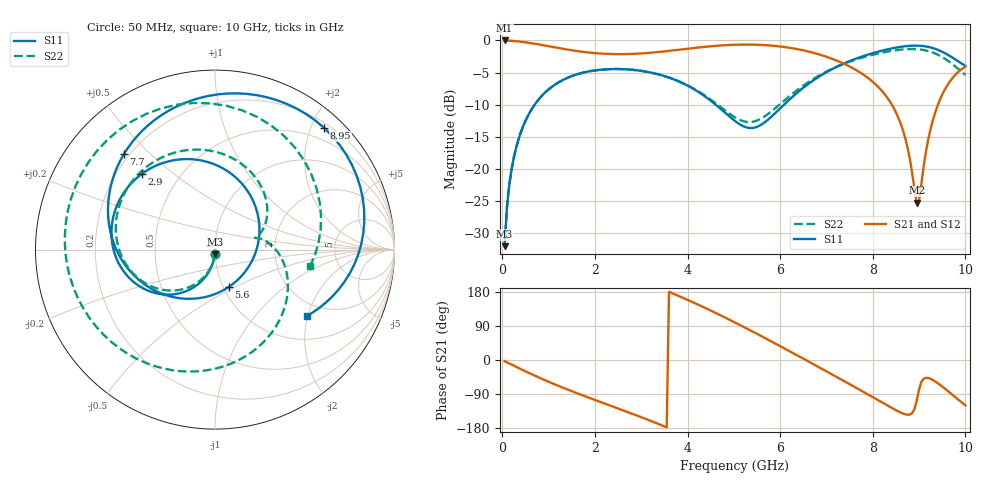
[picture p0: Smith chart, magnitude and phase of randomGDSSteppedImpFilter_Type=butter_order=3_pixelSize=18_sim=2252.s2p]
! freq	dB(S11)	phase(S11)	dB(S12)	phase(S12)
!  dB(S21)	phase(S21)	dB(S22)	phase(S22)
!S-par simulation data
#  GHz  S  DB  R 50
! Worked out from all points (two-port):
!   200 points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, 50 MHz to 10 GHz, reference 50 ohm
!   highest |S21| = -0.01 dB at 50 MHz (marker M1); lowest = -25.3 dB at 8.95 GHz (marker M2)
!   |S21| within 3 dB of the highest: start of sweep to 7.174 GHz
!   lowest |S11| = -32.0 dB at 50 MHz (marker M3), VSWR 1.05, Z = 49.8 - j2.49 ohm
!   |S11| at or under -10 dB: start of sweep to 699.7 MHz; 4.608 GHz to 6.083 GHz (1.475 GHz wide, 27.6 % of centre)
!   |S22| runs from -32.0 to -1.3 dB; largest |S21 - S12| = 0
!   S11 on the Smith chart (normalised r, x): 50 MHz: 1.00, -0.05; 2.9 GHz: 0.30, +0.39; 5.6 GHz: 1.06, -0.46; 7.7 GHz: 0.18, +0.42; 8.95 GHz: 0.28, +2.21; 10 GHz: 1.61, -1.98
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0.05  -32.02 -93.0  -0.01 -3.1  -0.01 -3.1  -32.02 -93.3
0.1  -26.02 -96.0  -0.02 -6.1  -0.02 -6.1  -26.02 -96.7
0.2  -20.08 -101.9  -0.06 -12.2  -0.06 -12.2  -20.08 -103.2
0.5  -12.53 -118.8  -0.30 -29.9  -0.30 -29.9  -12.53 -122.0
1.1  -7.07 -149.5  -1.04 -62.6  -1.04 -62.6  -7.07 -156.7
1.75  -5.01 -178.6  -1.78 -94.0  -1.78 -94.0  -5.01 169.6
2.9  -4.64 133.8  -2.07 -146.2  -2.07 -146.2  -4.64 113.4
3.4  -5.34 111.7  -1.78 -170.1  -1.78 -170.1  -5.34 88.0
4.25  -8.09 67.0  -1.09 144.9  -1.09 144.9  -8.00 44.5
5.05  -12.67 0.9  -0.67 97.4  -0.67 97.4  -12.07 17.6
5.6  -13.08 -69.7  -0.71 62.6  -0.71 62.6  -12.12 14.9
6.15  -9.54 -125.5  -1.09 26.7  -1.09 26.7  -8.99 -3.4
6.7  -6.30 -164.8  -1.89 -9.9  -1.89 -9.9  -6.07 -37.7
7.2  -4.18 164.0  -3.08 -43.5  -3.08 -43.5  -4.16 -74.4
7.7  -2.67 133.8  -4.87 -77.3  -4.87 -77.3  -2.83 -113.6
8  -1.98 115.2  -6.44 -98.0  -6.44 -98.0  -2.23 -138.4
8.35  -1.34 92.4  -9.29 -122.4  -9.29 -122.4  -1.70 -169.4
8.7  -0.90 67.5  -15.17 -143.3  -15.17 -143.3  -1.37 156.1
8.95  -0.81 48.1  -25.27 -107.3  -25.27 -107.3  -1.36 128.6
9.35  -1.32 14.8  -11.18 -56.7  -11.18 -56.7  -2.04 78.9
9.7  -2.58 -13.9  -6.05 -89.8  -6.05 -89.8  -3.59 31.4
10  -3.98 -35.7  -4.08 -119.8  -4.08 -119.8  -5.38 -9.8
